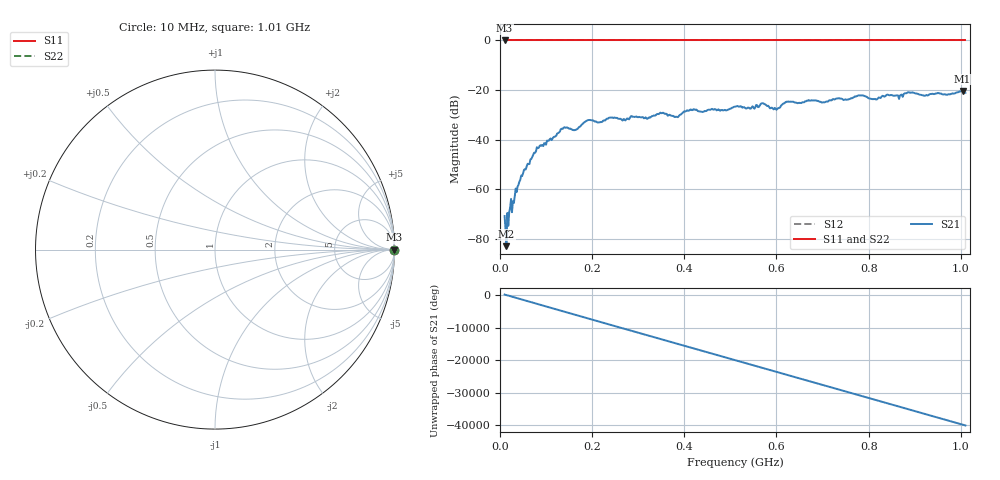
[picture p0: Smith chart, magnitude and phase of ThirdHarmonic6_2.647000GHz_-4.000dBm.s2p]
! 8/17/2025 6:00:55 AM
! C:\ANRITSUVNA\TEMP\TEMP.S2P
! CHANNEL.1
! TR.MEASUREMENT
! RAW.DATA
! RF.CORRECTION.OFF
! AVERAGING.OFF
! IF.BANDWIDTH: 5KHZ
! SWEEPTYPE:  FREQ.SWEEP(Linear)
! Reference Plane Port Info
! PORT:  PORT1  PORT2
! DISTANCE:  0  m  0  m
! TIME:  0  s  0  s
! PHASE.OFFSET:  0  deg.  0  deg.
! LOSS:  0  dB  0  dB
! REF.LOSS:  0  dB  0  dB
! REF.FREQ:  0  Hz  0  Hz
! Power Info
! POWER:  -20  dBm  -20  dBm
! EFF.POWER:  -20  dBm  -20  dBm
! SOURCE.ATTEN:  0  dB  0  dB
! TEST.ATTEN:  0  dB  0  dB
# GHZ S RI R 50.0
! FREQ.GHZ  S11RE  S11IM  S21RE  S21IM  S12RE  S12IM  S22RE  S22IM
!; PortSelection: Port_12
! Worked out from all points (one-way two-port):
!   501 points, 10 MHz to 1.01 GHz, reference 50 ohm
!   highest |S21| = -20.37 dB at 1.004 GHz (marker M1); lowest = -83.0 dB at 14 MHz (marker M2)
!   lowest |S11| = 0.0 dB at 10 MHz (marker M3)
!   |S11| at or under -10 dB: nowhere
!   |S22| runs from 0.0 to 0.0 dB; largest |S21 - S12| = 1.1
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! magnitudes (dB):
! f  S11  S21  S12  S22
! 10 MHz  0.0  -70.9  0.0  0.0
! 14 MHz  0.0  -83.0  0.0  0.0
! 18 MHz  0.0  -74.8  0.0  0.0
! 20 MHz  0.0  -69.3  0.0  0.0
! 42 MHz  0.0  -57.0  0.0  0.0
! 78 MHz  0.0  -44.8  0.0  0.0
! 136 MHz  0.0  -35.7  0.0  0.0
! 162 MHz  0.0  -36.2  0.0  0.0
! 178 MHz  0.0  -33.9  0.0  0.0
! 192 MHz  0.0  -32.1  0.0  0.0
! 322 MHz  0.0  -31.3  0.0  0.0
! 344 MHz  0.0  -29.7  0.0  0.0
! 382 MHz  0.0  -30.8  0.0  0.0
! 410 MHz  0.0  -28.4  0.0  0.0
! 510 MHz  0.0  -26.7  0.0  0.0
! 570 MHz  0.0  -25.3  0.0  0.0
! 598 MHz  0.0  -27.4  0.0  0.0
! 622 MHz  0.0  -24.7  0.0  0.0
! 678 MHz  0.0  -24.2  0.0  0.0
! 844 MHz  0.0  -22.1  0.0  0.0
! 1.004 GHz  0.0  -20.4  0.0  0.0
! 1.01 GHz  0.0  -21.1  0.0  0.0
